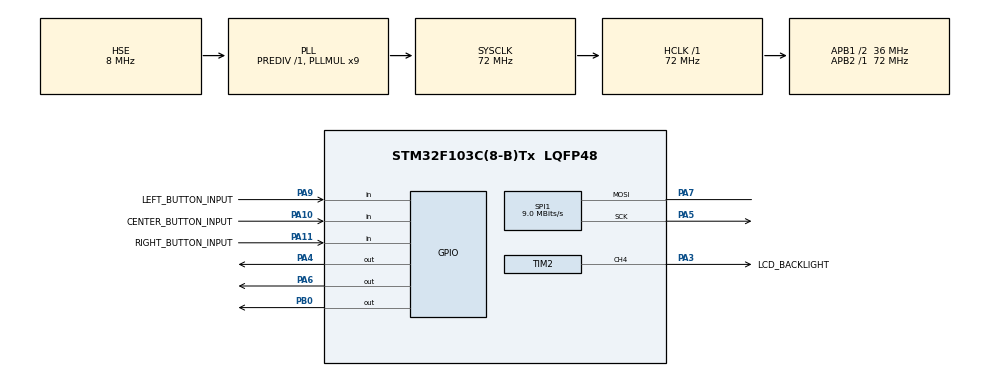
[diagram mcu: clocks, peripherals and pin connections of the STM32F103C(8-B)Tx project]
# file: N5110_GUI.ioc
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ADC1.Channel-0\#ChannelRegularConversion=ADC_CHANNEL_TEMPSENSOR
ADC1.NbrOfConversionFlag=1
ADC1.Rank-0\#ChannelRegularConversion=1
ADC1.SamplingTime-0\#ChannelRegularConversion=ADC_SAMPLETIME_1CYCLE_5
ADC1.master=1
FREERTOS.Tasks01=defaultTask,24,128,StartDefaultTask,Default,NULL,Dynamic,NULL,NULL
FREERTOS.configUSE_NEWLIB_REENTRANT=1
IWDG.Prescaler=IWDG_PRESCALER_64
Mcu.Family=STM32F1
Mcu.Name=STM32F103C(8-B)Tx
Mcu.Package=LQFP48
NVIC.PriorityGroup=NVIC_PRIORITYGROUP_4
NVIC.TIM1_UP_IRQn=true\:15\:0\:false\:false\:true\:false\:false\:true\:true
NVIC.TIM3_IRQn=true\:5\:0\:false\:false\:true\:true\:true\:true\:true
NVIC.TimeBase=TIM1_UP_IRQn
NVIC.TimeBaseIP=TIM1
PA10.GPIO_Label=CENTER_BUTTON_INPUT
PA10.GPIO_PuPd=GPIO_PULLDOWN
PA10.Signal=GPIO_Input
PA11.GPIO_Label=RIGHT_BUTTON_INPUT
PA11.GPIO_PuPd=GPIO_PULLDOWN
PA11.Signal=GPIO_Input
PA13.Mode=Serial_Wire
PA13.Signal=SYS_JTMS-SWDIO
PA14.Mode=Serial_Wire
PA14.Signal=SYS_JTCK-SWCLK
PA3.GPIO_Label=LCD_BACKLIGHT
PA3.Signal=S_TIM2_CH4
PA4.Signal=GPIO_Output
PA5.Mode=Simplex_Bidirectional_Master
PA5.Signal=SPI1_SCK
PA6.Signal=GPIO_Output
PA7.Mode=Simplex_Bidirectional_Master
PA7.Signal=SPI1_MOSI
PA9.GPIO_Label=LEFT_BUTTON_INPUT
PA9.GPIO_PuPd=GPIO_PULLDOWN
PA9.Signal=GPIO_Input
PB0.Signal=GPIO_Output
PC14-OSC32_IN.Mode=LSE-External-Oscillator
PC14-OSC32_IN.Signal=RCC_OSC32_IN
PC15-OSC32_OUT.Mode=LSE-External-Oscillator
PC15-OSC32_OUT.Signal=RCC_OSC32_OUT
PD0-OSC_IN.Mode=HSE-External-Oscillator
PD0-OSC_IN.Signal=RCC_OSC_IN
PD1-OSC_OUT.Mode=HSE-External-Oscillator
PD1-OSC_OUT.Signal=RCC_OSC_OUT
ProjectManager.HeapSize=0x200
ProjectManager.StackSize=0x400
ProjectManager.TargetToolchain=STM32CubeIDE
RCC.ADCPresc=RCC_ADCPCLK2_DIV8
RCC.AHBFreq_Value=72000000
RCC.APB1CLKDivider=RCC_HCLK_DIV2
RCC.APB1Freq_Value=36000000
RCC.APB1TimFreq_Value=72000000
RCC.APB2Freq_Value=72000000
RCC.APB2TimFreq_Value=72000000
RCC.EnbaleCSS=true
RCC.HCLKFreq_Value=72000000
RCC.PLLMUL=RCC_PLL_MUL9
RCC.PLLSourceVirtual=RCC_PLLSOURCE_HSE
RCC.SYSCLKFreq_VALUE=72000000
RCC.SYSCLKSource=RCC_SYSCLKSOURCE_PLLCLK
RCC.USBFreq_Value=72000000
SH.S_TIM2_CH4.0=TIM2_CH4,PWM Generation4 CH4
SPI1.BaudRatePrescaler=SPI_BAUDRATEPRESCALER_8
SPI1.CalculateBaudRate=9.0 MBits/s
SPI1.Direction=SPI_DIRECTION_1LINE
SPI1.Mode=SPI_MODE_MASTER
SPI1.VirtualType=VM_MASTER
TIM2.Channel-PWM\ Generation4\ CH4=TIM_CHANNEL_4
TIM2.Period=999
TIM2.Prescaler=15
TIM3.Period=9999
TIM3.Prescaler=71
VP_ADC1_TempSens_Input.Mode=IN-TempSens
VP_FREERTOS_VS_CMSIS_V2.Mode=CMSIS_V2
VP_IWDG_VS_IWDG.Mode=IWDG_Activate
VP_RTC_No_RTC_Output.Mode=RTC_OUT_NO
VP_RTC_VS_RTC_Activate.Mode=RTC_Enabled
VP_RTC_VS_RTC_Calendar.Mode=RTC_Calendar
VP_SYS_VS_tim1.Mode=TIM1
VP_TIM2_VS_ClockSourceINT.Mode=Internal
VP_TIM3_VS_ClockSourceINT.Mode=Internal
board=custom

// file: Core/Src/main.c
/* USER CODE BEGIN Header */
/**
  ******************************************************************************
  * @file           : main.c
  * @brief          : Main program body
  ******************************************************************************
  * @attention
  *
  * Copyright (c) 2024 STMicroelectronics.
  * All rights reserved.
  *
  * This software is licensed under terms that can be found in the LICENSE file
  * in the root directory of this software component.
  * If no LICENSE file comes with this software, it is provided AS-IS.
  *
  ******************************************************************************
  */
/* USER CODE END Header */
#include "main.h"

/* USER CODE BEGIN Includes */
#include "FreeRTOS.h"
#include "task.h"
#include "timers.h"
#include "pcd8544_driver.h"
#include "pcd8544_gui.h"
#include "queue.h"
#include "stdio.h"
#include "math.h"
#include "stdbool.h"
/* USER CODE END Includes */

ADC_HandleTypeDef hadc1;

IWDG_HandleTypeDef hiwdg;

RTC_HandleTypeDef hrtc;

SPI_HandleTypeDef hspi1;

TIM_HandleTypeDef htim2;
TIM_HandleTypeDef htim3;

/* Definitions for defaultTask */

/* USER CODE BEGIN PV */
MenuItems_e currentMenu;

TaskHandle_t mainMenu_handle;
TaskHandle_t mcuTempMenu_handle;
TaskHandle_t clockMenu_handle;
TaskHandle_t backlightMenu_handle;
TaskHandle_t contrastMenu_handle;
TaskHandle_t helpMenu_handle;
TaskHandle_t rebootMenu_handle;
TaskHandle_t timerMenu_handle;
TaskHandle_t handleButtonPressed_handle;

TimerHandle_t iwdgReloadTimer_handle;

QueueHandle_t pressedButtonQueue;

const char* MenuItemNames[MENU_ITEMS] = {" Clock"," Timer"," BackLight"," Contrast"," MCU Temp"," Help"," Reboot"};
const char* weekDays[7] = {"MONDAY","TUESDAY","WEDNESDAY","THURSDAY","FRIDAY","SATURDAY","SUNDAY"};

uint8_t currentPage = 0;
uint8_t currentMenuIndex = 0;
uint8_t menuIndex = 0;

uint8_t contrastValue;
int16_t backLightValue = 999;

uint8_t		timerMenuSeconds = 0;
uint8_t 	timerMenuMinutes = 0;
volatile uint8_t   timerMenuCentiSeconds = 0;
/* USER CODE END PV */

void SystemClock_Config(void);
static void MX_GPIO_Init(void);
static void MX_ADC1_Init(void);
static void MX_TIM2_Init(void);
static void MX_IWDG_Init(void);
static void MX_RTC_Init(void);
static void MX_SPI1_Init(void);
static void MX_TIM3_Init(void);
void StartDefaultTask(void *argument);

/* USER CODE BEGIN PFP */
void showMainMenu(void *pvParameters);
void showMcuTempMenu(void *pvParameters);
void showClockMenu(void *pvParameters);
void showBackLightMenu(void *pvParameters);
void showContrastMenu(void *pvParameters);
void showHelpMenu(void *pvParameters);
void showRebootMenu(void *pvParameters);
void showTimerMenu(void *pvParameters);

void handleButtonPressed(void *pvParameters);
void refreshIwdg();

void returnToMainMenu();
/* USER CODE END PFP */

int main(void)
{

  /* MCU Configuration--------------------------------------------------------*/

  /* Reset of all peripherals, Initializes the Flash interface and the Systick. */
  HAL_Init();

  /* Configure the system clock */
  SystemClock_Config();

  /* Initialize all configured peripherals */
  MX_GPIO_Init();
  MX_ADC1_Init();
  MX_TIM2_Init();
  MX_IWDG_Init();
  MX_RTC_Init();
  MX_SPI1_Init();
  MX_TIM3_Init();
  /* USER CODE BEGIN 2 */
/*-------------------------Show Start Prompt---------------------------*/
  PCD8544_init(PCD8544_DEFAULT_CONTRAST);
  PCD8544_setFont(1);
  PCD8544_clearScreen();
  PCD8544_printStringAlign("LOADING...", 10, ALIGNMETN_CENTER);
  PCD8544_refreshScreen();
  HAL_Delay(500);
  PCD8544_clearScreen();
  PCD8544_refreshScreen();

  /*---------------------Set Contrast And BackLight--------------------*/
  __HAL_TIM_SET_COMPARE(&htim2, TIM_CHANNEL_4, DEFAULT_BACKLIGHT_VALUE);
  HAL_TIM_PWM_Start(&htim2, TIM_CHANNEL_4);

  /*-------------------------Create Basic Tasks------------------------*/

  xTaskCreate(showMainMenu,
							"Main Menu",
							128,
							NULL,
							1,
							&mainMenu_handle);

  xTaskCreate(handleButtonPressed,
  						"Handle Key",
							128,
							NULL,
							1,
							&handleButtonPressed_handle);

  /*---------------------------Create Mics--------------------------*/
  pressedButtonQueue = xQueueCreate(5,sizeof(Buttons_e));

  iwdgReloadTimer_handle = xTimerCreate("IWDG Handle Timer",
  																			IWDG_REFRESH_TIME,
																				pdTRUE,
																				0,
																				refreshIwdg);
  /*-------------------------Start The Scheduler----------------------*/
  vTaskStartScheduler();
  /* USER CODE END 2 */

  /* Init scheduler */

  /* Create the thread(s) */
  /* creation of defaultTask */

  /* Start scheduler */

  /* We should never get here as control is now taken by the scheduler */
  /* Infinite loop */
  while (1)
  {

  }
}

void SystemClock_Config(void)
{
  RCC_OscInitTypeDef RCC_OscInitStruct = {0};
  RCC_ClkInitTypeDef RCC_ClkInitStruct = {0};
  RCC_PeriphCLKInitTypeDef PeriphClkInit = {0};

  /** Initializes the RCC Oscillators according to the specified parameters
  * in the RCC_OscInitTypeDef structure.
  */
  RCC_OscInitStruct.OscillatorType = RCC_OSCILLATORTYPE_LSI|RCC_OSCILLATORTYPE_HSE;
  RCC_OscInitStruct.HSEState = RCC_HSE_ON;
  RCC_OscInitStruct.HSEPredivValue = RCC_HSE_PREDIV_DIV1;
  RCC_OscInitStruct.HSIState = RCC_HSI_ON;
  RCC_OscInitStruct.LSIState = RCC_LSI_ON;
  RCC_OscInitStruct.PLL.PLLState = RCC_PLL_ON;
  RCC_OscInitStruct.PLL.PLLSource = RCC_PLLSOURCE_HSE;
  RCC_OscInitStruct.PLL.PLLMUL = RCC_PLL_MUL9;
  if (HAL_RCC_OscConfig(&RCC_OscInitStruct) != HAL_OK)
  {
    Error_Handler();
  }

  /** Initializes the CPU, AHB and APB buses clocks
  */
  RCC_ClkInitStruct.ClockType = RCC_CLOCKTYPE_HCLK|RCC_CLOCKTYPE_SYSCLK
                              |RCC_CLOCKTYPE_PCLK1|RCC_CLOCKTYPE_PCLK2;
  RCC_ClkInitStruct.SYSCLKSource = RCC_SYSCLKSOURCE_PLLCLK;
  RCC_ClkInitStruct.AHBCLKDivider = RCC_SYSCLK_DIV1;
  RCC_ClkInitStruct.APB1CLKDivider = RCC_HCLK_DIV2;
  RCC_ClkInitStruct.APB2CLKDivider = RCC_HCLK_DIV1;

  if (HAL_RCC_ClockConfig(&RCC_ClkInitStruct, FLASH_LATENCY_2) != HAL_OK)
  {
    Error_Handler();
  }
  PeriphClkInit.PeriphClockSelection = RCC_PERIPHCLK_RTC|RCC_PERIPHCLK_ADC;
  PeriphClkInit.RTCClockSelection = RCC_RTCCLKSOURCE_LSI;
  PeriphClkInit.AdcClockSelection = RCC_ADCPCLK2_DIV8;
  if (HAL_RCCEx_PeriphCLKConfig(&PeriphClkInit) != HAL_OK)
  {
    Error_Handler();
  }

  /** Enables the Clock Security System
  */
  HAL_RCC_EnableCSS();
}

static void MX_ADC1_Init(void)
{

  ADC_ChannelConfTypeDef sConfig = {0};

  /** Common config
  */
  hadc1.Instance = ADC1;
  hadc1.Init.ScanConvMode = ADC_SCAN_DISABLE;
  hadc1.Init.ContinuousConvMode = DISABLE;
  hadc1.Init.DiscontinuousConvMode = DISABLE;
  hadc1.Init.ExternalTrigConv = ADC_SOFTWARE_START;
  hadc1.Init.DataAlign = ADC_DATAALIGN_RIGHT;
  hadc1.Init.NbrOfConversion = 1;
  if (HAL_ADC_Init(&hadc1) != HAL_OK)
  {
    Error_Handler();
  }

  /** Configure Regular Channel
  */
  sConfig.Channel = ADC_CHANNEL_TEMPSENSOR;
  sConfig.Rank = ADC_REGULAR_RANK_1;
  sConfig.SamplingTime = ADC_SAMPLETIME_1CYCLE_5;
  if (HAL_ADC_ConfigChannel(&hadc1, &sConfig) != HAL_OK)
  {
    Error_Handler();
  }

}

static void MX_IWDG_Init(void)
{

  hiwdg.Instance = IWDG;
  hiwdg.Init.Prescaler = IWDG_PRESCALER_64;
  hiwdg.Init.Reload = 4095;
  if (HAL_IWDG_Init(&hiwdg) != HAL_OK)
  {
    Error_Handler();
  }

}

static void MX_RTC_Init(void)
{

  /** Initialize RTC Only
  */
  hrtc.Instance = RTC;
  hrtc.Init.AsynchPrediv = RTC_AUTO_1_SECOND;
  hrtc.Init.OutPut = RTC_OUTPUTSOURCE_NONE;
  if (HAL_RTC_Init(&hrtc) != HAL_OK)
  {
    Error_Handler();
  }

  /** Initialize RTC and set the Time and Date
  */
 if (HAL_GPIO_ReadPin(CENTER_BUTTON_INPUT_GPIO_Port, CENTER_BUTTON_INPUT_Pin) == 1){
	RTC_TimeTypeDef sTime = {0};
  RTC_DateTypeDef DateToUpdate = {0};

	sTime.Hours = 0x0;
  sTime.Minutes = 0x0;
  sTime.Seconds = 0x0;

  if (HAL_RTC_SetTime(&hrtc, &sTime, RTC_FORMAT_BCD) != HAL_OK)
  {
    Error_Handler();
  }
  DateToUpdate.WeekDay = RTC_WEEKDAY_MONDAY;
  DateToUpdate.Month = RTC_MONTH_JANUARY;
  DateToUpdate.Date = 0x1;
  DateToUpdate.Year = 0x0;

  if (HAL_RTC_SetDate(&hrtc, &DateToUpdate, RTC_FORMAT_BCD) != HAL_OK)
  {
    Error_Handler();
  }
 }

}

static void MX_SPI1_Init(void)
{

  /* SPI1 parameter configuration*/
  hspi1.Instance = SPI1;
  hspi1.Init.Mode = SPI_MODE_MASTER;
  hspi1.Init.Direction = SPI_DIRECTION_1LINE;
  hspi1.Init.DataSize = SPI_DATASIZE_8BIT;
  hspi1.Init.CLKPolarity = SPI_POLARITY_LOW;
  hspi1.Init.CLKPhase = SPI_PHASE_1EDGE;
  hspi1.Init.NSS = SPI_NSS_SOFT;
  hspi1.Init.BaudRatePrescaler = SPI_BAUDRATEPRESCALER_8;
  hspi1.Init.FirstBit = SPI_FIRSTBIT_MSB;
  hspi1.Init.TIMode = SPI_TIMODE_DISABLE;
  hspi1.Init.CRCCalculation = SPI_CRCCALCULATION_DISABLE;
  hspi1.Init.CRCPolynomial = 10;
  if (HAL_SPI_Init(&hspi1) != HAL_OK)
  {
    Error_Handler();
  }

}

static void MX_TIM2_Init(void)
{

  TIM_ClockConfigTypeDef sClockSourceConfig = {0};
  TIM_MasterConfigTypeDef sMasterConfig = {0};
  TIM_OC_InitTypeDef sConfigOC = {0};

  htim2.Instance = TIM2;
  htim2.Init.Prescaler = 15;
  htim2.Init.CounterMode = TIM_COUNTERMODE_UP;
  htim2.Init.Period = 999;
  htim2.Init.ClockDivision = TIM_CLOCKDIVISION_DIV1;
  htim2.Init.AutoReloadPreload = TIM_AUTORELOAD_PRELOAD_DISABLE;
  if (HAL_TIM_Base_Init(&htim2) != HAL_OK)
  {
    Error_Handler();
  }
  sClockSourceConfig.ClockSource = TIM_CLOCKSOURCE_INTERNAL;
  if (HAL_TIM_ConfigClockSource(&htim2, &sClockSourceConfig) != HAL_OK)
  {
    Error_Handler();
  }
  if (HAL_TIM_PWM_Init(&htim2) != HAL_OK)
  {
    Error_Handler();
  }
  sMasterConfig.MasterOutputTrigger = TIM_TRGO_RESET;
  sMasterConfig.MasterSlaveMode = TIM_MASTERSLAVEMODE_DISABLE;
  if (HAL_TIMEx_MasterConfigSynchronization(&htim2, &sMasterConfig) != HAL_OK)
  {
    Error_Handler();
  }
  sConfigOC.OCMode = TIM_OCMODE_PWM1;
  sConfigOC.Pulse = 0;
  sConfigOC.OCPolarity = TIM_OCPOLARITY_HIGH;
  sConfigOC.OCFastMode = TIM_OCFAST_DISABLE;
  if (HAL_TIM_PWM_ConfigChannel(&htim2, &sConfigOC, TIM_CHANNEL_4) != HAL_OK)
  {
    Error_Handler();
  }
  HAL_TIM_MspPostInit(&htim2);

}

static void MX_TIM3_Init(void)
{

  TIM_ClockConfigTypeDef sClockSourceConfig = {0};
  TIM_MasterConfigTypeDef sMasterConfig = {0};

  htim3.Instance = TIM3;
  htim3.Init.Prescaler = 71;
  htim3.Init.CounterMode = TIM_COUNTERMODE_UP;
  htim3.Init.Period = 9999;
  htim3.Init.ClockDivision = TIM_CLOCKDIVISION_DIV1;
  htim3.Init.AutoReloadPreload = TIM_AUTORELOAD_PRELOAD_DISABLE;
  if (HAL_TIM_Base_Init(&htim3) != HAL_OK)
  {
    Error_Handler();
  }
  sClockSourceConfig.ClockSource = TIM_CLOCKSOURCE_INTERNAL;
  if (HAL_TIM_ConfigClockSource(&htim3, &sClockSourceConfig) != HAL_OK)
  {
    Error_Handler();
  }
  sMasterConfig.MasterOutputTrigger = TIM_TRGO_RESET;
  sMasterConfig.MasterSlaveMode = TIM_MASTERSLAVEMODE_DISABLE;
  if (HAL_TIMEx_MasterConfigSynchronization(&htim3, &sMasterConfig) != HAL_OK)
  {
    Error_Handler();
  }

}

static void MX_GPIO_Init(void)
{
  GPIO_InitTypeDef GPIO_InitStruct = {0};

  /* GPIO Ports Clock Enable */
  __HAL_RCC_GPIOC_CLK_ENABLE();
  __HAL_RCC_GPIOD_CLK_ENABLE();
  __HAL_RCC_GPIOA_CLK_ENABLE();
  __HAL_RCC_GPIOB_CLK_ENABLE();

  /*Configure GPIO pin Output Level */
  HAL_GPIO_WritePin(GPIOA, GPIO_PIN_4|GPIO_PIN_6, GPIO_PIN_RESET);

  /*Configure GPIO pin Output Level */
  HAL_GPIO_WritePin(GPIOB, GPIO_PIN_0, GPIO_PIN_RESET);

  /*Configure GPIO pins : PA4 PA6 */
  GPIO_InitStruct.Pin = GPIO_PIN_4|GPIO_PIN_6;
  GPIO_InitStruct.Mode = GPIO_MODE_OUTPUT_PP;
  GPIO_InitStruct.Pull = GPIO_NOPULL;
  GPIO_InitStruct.Speed = GPIO_SPEED_FREQ_LOW;
  HAL_GPIO_Init(GPIOA, &GPIO_InitStruct);

  /*Configure GPIO pin : PB0 */
  GPIO_InitStruct.Pin = GPIO_PIN_0;
  GPIO_InitStruct.Mode = GPIO_MODE_OUTPUT_PP;
  GPIO_InitStruct.Pull = GPIO_NOPULL;
  GPIO_InitStruct.Speed = GPIO_SPEED_FREQ_LOW;
  HAL_GPIO_Init(GPIOB, &GPIO_InitStruct);

  /*Configure GPIO pins : LEFT_BUTTON_INPUT_Pin CENTER_BUTTON_INPUT_Pin RIGHT_BUTTON_INPUT_Pin */
  GPIO_InitStruct.Pin = LEFT_BUTTON_INPUT_Pin|CENTER_BUTTON_INPUT_Pin|RIGHT_BUTTON_INPUT_Pin;
  GPIO_InitStruct.Mode = GPIO_MODE_INPUT;
  GPIO_InitStruct.Pull = GPIO_PULLDOWN;
  HAL_GPIO_Init(GPIOA, &GPIO_InitStruct);

}

/* USER CODE BEGIN 4 */
/*----------------------Tasks------------------------*/

void handleButtonPressed(void *pvParameters){
	Buttons_e pressedButton;

	for (;;){
		if(HAL_GPIO_ReadPin(RIGHT_BUTTON_INPUT_GPIO_Port, RIGHT_BUTTON_INPUT_Pin) == 1 ||
			HAL_GPIO_ReadPin(LEFT_BUTTON_INPUT_GPIO_Port, LEFT_BUTTON_INPUT_Pin) == 1 ||
			HAL_GPIO_ReadPin(CENTER_BUTTON_INPUT_GPIO_Port, CENTER_BUTTON_INPUT_Pin) == 1){

				if (HAL_GPIO_ReadPin(RIGHT_BUTTON_INPUT_GPIO_Port, RIGHT_BUTTON_INPUT_Pin) == 1){
					pressedButton = RIGHT_BUTTON;
				}
				else if (HAL_GPIO_ReadPin(LEFT_BUTTON_INPUT_GPIO_Port, LEFT_BUTTON_INPUT_Pin) == 1){
					pressedButton  = LEFT_BUTTON;
				}
				else if (HAL_GPIO_ReadPin(CENTER_BUTTON_INPUT_GPIO_Port, CENTER_BUTTON_INPUT_Pin) == 1){
					pressedButton = CENETR_BUTTON;
				}
				xQueueSend(pressedButtonQueue,&pressedButton,0);
				vTaskDelay(BUTTON_DELAY_TIME);
		}
		HAL_IWDG_Refresh(&hiwdg);
	}
}

void showMainMenu(void *pvParameters){
	Buttons_e pressedButton;

	for(;;){

		/*------------------------Draw Menu Items-----------------------*/
		PCD8544_GUI_displayMenuName("MAIN MENU");

		menuIndex = currentPage * 3 + currentMenuIndex;
		PCD8544_GUI_drawSideBar(80, 16, 26, menuIndex, MENU_ITEMS);

		uint8_t itemsInPage;
		if (currentPage < PAGES - 1){
			itemsInPage = ITEMS_PER_PAGE;
		}
		else {
			itemsInPage = MENU_ITEMS % 3;
		}

		for (uint8_t i = 0 ; i < itemsInPage ; i++){
			if (i%3 != currentMenuIndex){
				PCD8544_printStringAlign(MenuItemNames[(currentPage*3)+i],((11*i)+17), ALIGNMETN_LEFT);
			}
			else if (i == currentMenuIndex){
				PCD8544_setTextInvert(true);
				char s[14];
				strcpy(s,">");
				strcat(s,MenuItemNames[(currentPage*3)+i]);
				PCD8544_printStringAlign(s,((11*i)+17), ALIGNMETN_LEFT);
				PCD8544_setTextInvert(false);
			}
		}

		PCD8544_refreshScreen();

		/*-----------------------Handle button events--------------------*/
		if (xQueueReceive(pressedButtonQueue, &pressedButton, HAL_MAX_DELAY) == pdPASS){
			if (pressedButton == RIGHT_BUTTON){
				currentMenuIndex++;

				if (currentMenuIndex > itemsInPage - 1){
					currentPage++;
					currentMenuIndex = 0;
					if (currentPage > PAGES - 1){
						currentPage = 0;
					}
				}
			}
			else if (pressedButton == LEFT_BUTTON){
				if (currentMenuIndex > 0){
					currentMenuIndex--;
				}
				else if (currentMenuIndex <= 0){
					if (currentPage > 0){
						currentPage--;
					}
					else {
						currentPage = PAGES - 1;
					}

					if (currentPage < PAGES - 1){
						itemsInPage = ITEMS_PER_PAGE;
					}
					else {
						itemsInPage = MENU_ITEMS % ITEMS_PER_PAGE;
					}

					currentMenuIndex = itemsInPage - 1;
				}
			}
			else if (pressedButton == CENETR_BUTTON){
				currentMenu = (ITEMS_PER_PAGE * currentPage) + currentMenuIndex;
				/*-----------------------Execute Menus---------------------*/
				if (currentMenu == CLOCK){
					xTaskCreate(showClockMenu,
											"Clock Menu",
											128,
											NULL,
											1,
											&clockMenu_handle);
				}
				else if (currentMenu == TIMER){
					xTaskCreate(showTimerMenu,
											"Timer Menu",
											128,
											NULL,
											1,
											&timerMenu_handle);
				}
				else if (currentMenu == BACKLIGHT){
					xTaskCreate(showBackLightMenu,
											"BackLight Menu",
											128,
											NULL,
											1,
											&backlightMenu_handle);
				}
				else if (currentMenu == CONTRAST){
					xTaskCreate(showContrastMenu,
											"Contrast Menu",
											128,
											NULL,
											1,
											&timerMenu_handle);
				}
				else if (currentMenu == MCU_TEMP){
					xTaskCreate(showMcuTempMenu,
											"MCU Temp Menu",
											128,
											NULL,
											1,
											&mcuTempMenu_handle);
				}
				else if (currentMenu == HELP){
					xTaskCreate(showHelpMenu,
											"Help Menu",
											128,
											NULL,
											1,
											&helpMenu_handle);
				}
				else if (currentMenu == REBOOT){
					xTaskCreate(showRebootMenu,
											"Reboot Menu",
											128,
											NULL,
											1,
											&rebootMenu_handle);
				}

				PCD8544_clearScreen();
				PCD8544_refreshScreen();
				vTaskSuspend(NULL);
				HAL_Delay(10);
			}
		}

		PCD8544_clearScreen();
	}
}

void showMcuTempMenu(void *pvParameters){
	Buttons_e pressedButton;
	uint32_t  adcValue;
	int       temp;
	char      tempBuffer[10];

	for(;;){

		/*---------------------Convert Temperature----------------------*/
		HAL_ADC_Start(&hadc1);
		HAL_ADC_PollForConversion(&hadc1, MENU_REFRESH_TIME);
		adcValue = HAL_ADC_GetValue(&hadc1);
		HAL_ADC_Stop(&hadc1);

		temp = (1500-adcValue)/4;

		/*------------------------Draw Menu Items-----------------------*/
		PCD8544_GUI_displayMenuName("MCU TEMP");

		sprintf(tempBuffer, "%d", temp);
		PCD8544_setFont(6);
		PCD8544_printStringAlign(tempBuffer, 20, ALIGNMETN_CENTER);
		PCD8544_setFont(1);

		PCD8544_refreshScreen();

		/*-----------------------Handle button events--------------------*/
		if (xQueueReceive(pressedButtonQueue, &pressedButton, MENU_REFRESH_TIME) == pdPASS){
			if (pressedButton == RIGHT_BUTTON){

			}
			else if (pressedButton == LEFT_BUTTON){

			}
			else if (pressedButton == CENETR_BUTTON){
				returnToMainMenu();
			}
		}

		PCD8544_clearScreen();
	}
}

void showClockMenu(void *pvParameters){
	Buttons_e pressedButton;
	RTC_TimeTypeDef cTime;
	char            timeBuffer[10];
	uint8_t 				editCounter = 0;
	uint8_t					hour;
	uint8_t					minute;
	uint8_t					second;

	for (;;){
		HAL_RTC_GetTime(&hrtc, &cTime, RTC_FORMAT_BIN);

		PCD8544_GUI_displayMenuName("CLOCK");

		if (editCounter == 0){
			sprintf(timeBuffer, "%02d:%02d:%02d", cTime.Hours, cTime.Minutes, cTime.Seconds);
			PCD8544_setFont(4);
			PCD8544_printStringAlign(timeBuffer, 25, ALIGNMETN_CENTER);
			PCD8544_setFont(1);
		}
		else {
			if (editCounter == 1){
				char tempBuffer[3];
				sprintf(timeBuffer, "  :%02d:%02d", minute, second);
				PCD8544_setFont(4);
				PCD8544_printStringAlign(timeBuffer, 25, ALIGNMETN_CENTER);
				sprintf(tempBuffer, "%02d", hour);
				PCD8544_setTextInvert(true);
				PCD8544_printString(tempBuffer, 6, 25);
				PCD8544_setTextInvert(false);
				PCD8544_setFont(1);
			}
			else if (editCounter == 2){
				char tempBuffer[3];
				sprintf(timeBuffer, "%02d:  :%02d", hour, second);
				PCD8544_setFont(4);
				PCD8544_printStringAlign(timeBuffer, 25, ALIGNMETN_CENTER);
				sprintf(tempBuffer, "%02d", minute);
				PCD8544_setTextInvert(true);
				PCD8544_printString(tempBuffer, 33, 25);
				PCD8544_setTextInvert(false);
				PCD8544_setFont(1);
			}
			else if (editCounter == 3){
				char tempBuffer[3];
				sprintf(timeBuffer, "%02d:%02d:  ", hour, minute);
				PCD8544_setFont(4);
				PCD8544_printStringAlign(timeBuffer, 25, ALIGNMETN_CENTER);
				sprintf(tempBuffer, "%02d", second);
				PCD8544_setTextInvert(true);
				PCD8544_printString(tempBuffer, 60, 25);
				PCD8544_setTextInvert(false);
				PCD8544_setFont(1);
			}
		}

		PCD8544_refreshScreen();

		/*-----------------------Handle button events--------------------*/
		if (xQueueReceive(pressedButtonQueue, &pressedButton, MENU_REFRESH_TIME) == pdPASS){
			if (pressedButton == RIGHT_BUTTON){

				if (editCounter == 1){
					hour++;
					if (hour > 23){
						hour = 0;
					}
				}
				else if (editCounter == 2){
					minute++;
					if (minute > 59){
						minute = 0;
					}
				}
				else if (editCounter == 3){
					second++;
					if (second > 59){
						second = 0;
					}
				}
			}
			else if (pressedButton == LEFT_BUTTON){
				if (editCounter == 0){
					hour = cTime.Hours;
					minute = cTime.Minutes;
					second = cTime.Seconds;
				}

				if (editCounter == 1){
					cTime.Hours = hour;
					HAL_RTC_SetTime(&hrtc, &cTime, RTC_FORMAT_BIN);
				}
				else if (editCounter == 2){
					cTime.Minutes = minute;
					HAL_RTC_SetTime(&hrtc, &cTime, RTC_FORMAT_BIN);
				}
				else if (editCounter == 3){
					cTime.Seconds = second;
					HAL_RTC_SetTime(&hrtc, &cTime, RTC_FORMAT_BIN);
				}

				editCounter++;
				if (editCounter > 3){
					editCounter = 0;
				}
			}
			else if (pressedButton == CENETR_BUTTON){
				returnToMainMenu();
			}
		}

		PCD8544_clearScreen();
	}
}

void showBackLightMenu(void *pvParameters){
	Buttons_e pressedButton;

	for (;;){
		/*------------------------Draw Menu Items-----------------------*/
		PCD8544_GUI_displayMenuName("BACKLIGHT");

		PCD8544_GUI_drawProgressBar(4, 17, 76, 25, (ceil(backLightValue+1)/10));

		PCD8544_refreshScreen();

		/*-----------------------Handle button events--------------------*/
		if (xQueueReceive(pressedButtonQueue, &pressedButton, MENU_REFRESH_TIME) == pdPASS){
			if (pressedButton == RIGHT_BUTTON){
				if (backLightValue < 999){
					backLightValue += 100;
					__HAL_TIM_SET_COMPARE(&htim2, TIM_CHANNEL_4, backLightValue);
				}
			}
			else if (pressedButton == LEFT_BUTTON){
				if (backLightValue > 0){
					backLightValue -= 100;
					if (backLightValue < 0) backLightValue = 0;
					__HAL_TIM_SET_COMPARE(&htim2, TIM_CHANNEL_4, backLightValue);
				}
			}
			else if (pressedButton == CENETR_BUTTON){
				returnToMainMenu();
			}
		}
		PCD8544_clearScreen();
	}
}

void showContrastMenu(void *pvParameters){
	Buttons_e pressedButton;
	contrastValue = PCD8544_getContrast();

	for (;;){
		/*------------------------Draw Menu Items-----------------------*/
		PCD8544_GUI_displayMenuName("CONTRAST");

		PCD8544_GUI_drawProgressBar(4, 17, 76, 25, (contrastValue-50)*5);

		PCD8544_refreshScreen();

		/*-----------------------Handle button events--------------------*/

		if (xQueueReceive(pressedButtonQueue, &pressedButton, MENU_REFRESH_TIME) == pdPASS){
			if (pressedButton == RIGHT_BUTTON){
				if (contrastValue < 70){
					contrastValue += 1;
					PCD8544_setContrast(contrastValue);
				}
			}
			else if (pressedButton == LEFT_BUTTON){
				if (contrastValue > 50){
					contrastValue -= 1;
					PCD8544_setContrast(contrastValue);
				}
			}
			else if (pressedButton == CENETR_BUTTON){
				returnToMainMenu();
			}
		}
		PCD8544_clearScreen();
	}
}

void showHelpMenu(void *pvParameters){
	Buttons_e pressedButton;
	uint8_t helppageNumber = 0;

	for (;;){
		/*------------------------Draw Menu Items-----------------------*/
		PCD8544_GUI_displayMenuName("HELP");

		PCD8544_setFont(5);

		char tempBuffer[2];
		sprintf(tempBuffer, "%d", helppageNumber);
		PCD8544_printStringAlign(tempBuffer, 40, ALIGNMETN_RIGHT);

		if (helppageNumber == 0){
			PCD8544_printStringAlign("Enter or exit menus pressing the middle button.", 14, ALIGNMETN_LEFT);
		}
		else if (helppageNumber == 1){
			PCD8544_printStringAlign("Use left button to edit time and right one to adjust time.", 14, ALIGNMETN_LEFT);
		}
		else if (helppageNumber == 2){
			PCD8544_printStringAlign("Use right and left buttons to start/stop timer.", 14, ALIGNMETN_LEFT);
		}
		else if (helppageNumber == 3){
			PCD8544_printStringAlign("Press right button to increase backlight and left one to decrease it.", 14, ALIGNMETN_LEFT);
		}
		else if (helppageNumber == 4){
			PCD8544_printStringAlign("Do the same to adjust contrast.", 14, ALIGNMETN_LEFT);
		}
		else if (helppageNumber == 5){
			PCD8544_printStringAlign("Press the left button to rebbot when selected.", 14, ALIGNMETN_LEFT);
		}
		else if (helppageNumber == 6){
			PCD8544_printStringAlign("The system automatically restarts in times of hard fault.", 14, ALIGNMETN_LEFT);
		}
		PCD8544_setFont(1);
		PCD8544_refreshScreen();

		/*-----------------------Handle button events--------------------*/
		if (xQueueReceive(pressedButtonQueue, &pressedButton, MENU_REFRESH_TIME) == pdPASS){
			if (pressedButton == CENETR_BUTTON){
				returnToMainMenu();
			}
			else if (pressedButton == LEFT_BUTTON){
				if (helppageNumber > 0){
					helppageNumber--;
				}
			}
			else if (pressedButton == RIGHT_BUTTON){
				if (helppageNumber < 6){
					helppageNumber++;
				}
			}
		}

		PCD8544_clearScreen();
	}
}

void showRebootMenu(void *pvParameters){
	Buttons_e pressedButton;
	bool 			rebootState = false;

	for (;;){
		/*------------------------Draw Menu Items-----------------------*/
		PCD8544_GUI_displayMenuName("REBOOT");

		if (rebootState == false){
			PCD8544_printString("YES", 12, 25);
			PCD8544_setTextInvert(true);
			PCD8544_printString("NO", 57, 25);
			PCD8544_setTextInvert(false);
		}
		else if (rebootState == true){
			PCD8544_setTextInvert(true);
			PCD8544_printString("YES", 12, 25);
			PCD8544_setTextInvert(false);
			PCD8544_printString("NO", 57, 25);
		}

		PCD8544_drawVerticalLine(42, 25, 6);

		PCD8544_refreshScreen();

		/*-----------------------Handle button events--------------------*/
		if (xQueueReceive(pressedButtonQueue, &pressedButton, MENU_REFRESH_TIME) == pdPASS){
			 if (pressedButton == RIGHT_BUTTON){
				 rebootState = !rebootState;
			 }
			 else if (pressedButton == LEFT_BUTTON){
				 if (rebootState == true){
					 HAL_NVIC_SystemReset();
				 }
			 }
			 else if (pressedButton == CENETR_BUTTON){
				 returnToMainMenu();
			 }
		}
		PCD8544_clearScreen();
	}
}

void showTimerMenu(void *pvParameters){
	Buttons_e pressedButton;
	char			timerBuffer[10];

	for (;;){
		if (timerMenuCentiSeconds >= 100){
			timerMenuCentiSeconds = 0;
			timerMenuSeconds++;
			if (timerMenuSeconds >= 60){
				timerMenuSeconds = 0;
				timerMenuMinutes++;
				if (timerMenuMinutes >= 60){
					timerMenuCentiSeconds = 0;
					timerMenuSeconds = 0;
					timerMenuMinutes = 0;
				}
			}
		}
		/*------------------------Draw Menu Items-----------------------*/
		PCD8544_GUI_displayMenuName("TIMER");

		sprintf(timerBuffer, "%02d:%02d:%02d", timerMenuMinutes, timerMenuSeconds, timerMenuCentiSeconds);
		PCD8544_setFont(4);
		PCD8544_printStringAlign(timerBuffer, 25, ALIGNMETN_CENTER);
		PCD8544_setFont(1);
		PCD8544_refreshScreen();

		/*-----------------------Handle button events--------------------*/
		if (xQueueReceive(pressedButtonQueue, &pressedButton, pdMS_TO_TICKS(10)) == pdPASS){
				if (pressedButton == RIGHT_BUTTON){
					if (HAL_TIM_Base_GetState(&htim3) == HAL_TIM_STATE_BUSY){
						HAL_TIM_Base_Stop_IT(&htim3);
					}
					else {
						HAL_TIM_Base_Start_IT(&htim3);
					}
				}
				else if (pressedButton == LEFT_BUTTON){
					if (HAL_TIM_Base_GetState(&htim3) != HAL_TIM_STATE_BUSY){
						timerMenuCentiSeconds = 0;
						timerMenuSeconds = 0;
						timerMenuMinutes = 0;
					}
				}
				else if (pressedButton == CENETR_BUTTON){
					returnToMainMenu();
				}
		}
		PCD8544_clearScreen();
	}
}

void refreshIwdg(){
	HAL_IWDG_Refresh(&hiwdg);
}

/*---------------------------------------------------*/
void returnToMainMenu(){
	PCD8544_clearScreen();
	PCD8544_refreshScreen();
	vTaskResume(mainMenu_handle);
	vTaskDelete(NULL);
}

/*----------------Auto Generated Code-----------------*/
/* USER CODE END 4 */

void HAL_TIM_PeriodElapsedCallback(TIM_HandleTypeDef *htim)
{
  if (htim->Instance == TIM1) {
    HAL_IncTick();
  }
  else if (htim->Instance == TIM3){
  	timerMenuCentiSeconds++;
  }
}

void Error_Handler(void)
{
  __disable_irq();
  while (1)
  {
  }
}
